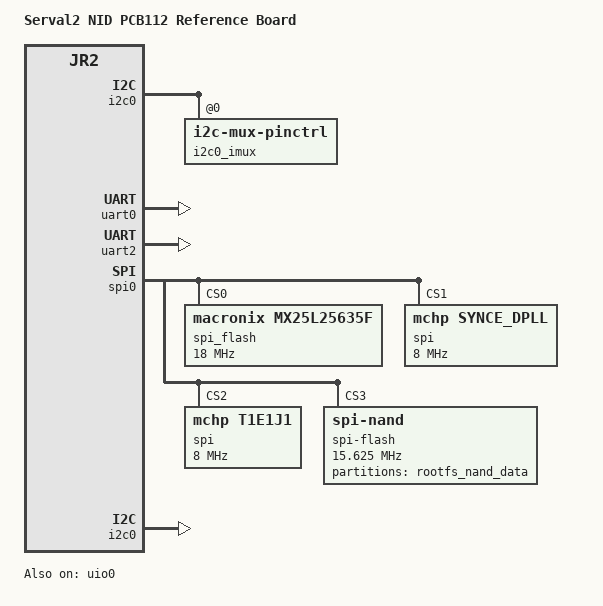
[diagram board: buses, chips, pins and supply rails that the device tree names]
// SPDX-License-Identifier: (GPL-2.0+ OR MIT)
/*
 * Copyright (c) 2018 Microsemi Corporation
 */

/dts-v1/;
#include "jaguar2_common.dtsi"

/ {
	model = "Serval2 NID PCB112 Reference Board";
	compatible = "mscc,serval2-pcb112", "mscc,jr2";

	aliases {
		spi0    = &spi0;
		i2c0    = &i2c0;
		serial0 = &uart0;
		i2c112  = &i2c112;
		i2c113  = &i2c113;
		i2c114  = &i2c114;
		i2c115  = &i2c115;
		i2c116  = &i2c116;
		i2c117  = &i2c117;
		i2c118  = &i2c118;
		i2c119  = &i2c119;
		i2c149  = &i2c149;
		i2c150  = &i2c150;
	};

	chosen {
		stdout-path = "serial0:115200n8";
	};
};

&ahb {
	dying_gasp: dying_gasp@0 {
		compatible = "mscc,dying-gasp";
		reg = <0 0>;
		interrupts = <1>;
		pinctrl-0 = <&irqext0_pins>;
		pinctrl-names = "ext0_irq";
	};
};

&uart0 {
	status = "okay";
};

&uart2 {
	status = "okay";
};

&spi0 {
	status = "okay";
	spi-flash@0 {
		label = "spi_flash";
		compatible = "macronix,mx25l25635f", "jedec,spi-nor";
		spi-max-frequency = <18000000>; /* input clock */
		reg = <0>; /* CS0 */
	};
	spi@1 {
		compatible = "mchp,synce_dpll";
		reg = <0x1>; /* CS1 */
		pinctrl-0 = <&cs1_pins>;
		pinctrl-names = "default";
		spi-max-frequency = <8000000>;
	};
	spi@2 {
		compatible = "mchp,t1e1j1";
		reg = <0x2>; /* CS2 */
		pinctrl-0 = <&cs2_pins>;
		pinctrl-names = "default";
		spi-max-frequency = <8000000>;
	};
	spi-flash@3 {
		compatible = "spi-nand";
		pinctrl-0 = <&cs3_pins>;
		pinctrl-names = "default";
		spi-max-frequency = <15625000>;
		reg = <3>; /* CS3 */
		nand-use-soft-ecc-engine;
		nand-ecc-algo = "hamming";
		partitions {
			compatible = "fixed-partitions";
			#address-cells = <1>;
			#size-cells = <1>;
			/* 256MiB */
			partition@0 {
				    label = "rootfs_nand_data";
				    reg = <0x0000000 0x10000000>;
			};
		};
	};
};

&i2c0 {
	status = "okay";
	i2c-sda-hold-time-ns = <300>;
};

&uio0 {
	status = "okay";
};


&gpio {
	i2cmux_pins_i: i2cmux-pins-i {
		pins = "GPIO_35", "GPIO_34", "GPIO_37", "GPIO_36", "GPIO_39",
		       "GPIO_38", "GPIO_41", "GPIO_40", "GPIO_43", "GPIO_42";
		function = "twi_scl_m";
		output-low;
	};
	i2cmux_0: i2cmux-0 {
		pins = "GPIO_35";
		function = "twi_scl_m";
		output-high;
	};
	i2cmux_1: i2cmux-1 {
		pins = "GPIO_34";
		function = "twi_scl_m";
		output-high;
	};
	i2cmux_2: i2cmux-2 {
		pins = "GPIO_37";
		function = "twi_scl_m";
		output-high;
	};
	i2cmux_3: i2cmux-3 {
		pins = "GPIO_36";
		function = "twi_scl_m";
		output-high;
	};
	i2cmux_4: i2cmux-4 {
		pins = "GPIO_39";
		function = "twi_scl_m";
		output-high;
	};
	i2cmux_5: i2cmux-5 {
		pins = "GPIO_38";
		function = "twi_scl_m";
		output-high;
	};
	i2cmux_6: i2cmux-6 {
		pins = "GPIO_41";
		function = "twi_scl_m";
		output-high;
	};
	i2cmux_7: i2cmux-7 {
		pins = "GPIO_40";
		function = "twi_scl_m";
		output-high;
	};
	i2cmux_8: i2cmux-8 {
		pins = "GPIO_43";
		function = "twi_scl_m";
		output-high;
	};
	i2cmux_9: i2cmux-9 {
		pins = "GPIO_42";
		function = "twi_scl_m";
		output-high;
	};
	irqext0_pins: irqext0-pins {
		pins = "GPIO_6";
		function = "irq0_in";
	};
};

&ahb {
	i2c0_imux: i2c0-imux@0 {
		compatible = "i2c-mux-pinctrl";
		#address-cells = <1>;
		#size-cells = <0>;
		i2c-parent = <&i2c0>;
		pinctrl-names =
			"i2c112", "i2c113", "i2c114", "i2c115", "i2c116",
			"i2c117", "i2c118", "i2c119", "i2c149", "i2c150",
			"idle";
		pinctrl-0 = <&i2cmux_0>;
		pinctrl-1 = <&i2cmux_1>;
		pinctrl-2 = <&i2cmux_2>;
		pinctrl-3 = <&i2cmux_3>;
		pinctrl-4 = <&i2cmux_4>;
		pinctrl-5 = <&i2cmux_5>;
		pinctrl-6 = <&i2cmux_6>;
		pinctrl-7 = <&i2cmux_7>;
		pinctrl-8 = <&i2cmux_8>;
		pinctrl-9 = <&i2cmux_9>;
		pinctrl-10 = <&i2cmux_pins_i>;
		i2c112: i2c_sfp112 {
			reg = <0x0>;
			#address-cells = <1>;
			#size-cells = <0>;
		};
		i2c113: i2c_sfp113 {
			reg = <0x1>;
			#address-cells = <1>;
			#size-cells = <0>;
		};
		i2c114: i2c_sfp114 {
			reg = <0x2>;
			#address-cells = <1>;
			#size-cells = <0>;
		};
		i2c115: i2c_sfp115 {
			reg = <0x3>;
			#address-cells = <1>;
			#size-cells = <0>;
		};
		i2c116: i2c_sfp116 {
			reg = <0x4>;
			#address-cells = <1>;
			#size-cells = <0>;
		};
		i2c117: i2c_sfp117 {
			reg = <0x5>;
			#address-cells = <1>;
			#size-cells = <0>;
		};
		i2c118: i2c_sfp118 {
			reg = <0x6>;
			#address-cells = <1>;
			#size-cells = <0>;
		};
		i2c119: i2c_sfp119 {
			reg = <0x7>;
			#address-cells = <1>;
			#size-cells = <0>;
		};
		i2c149: i2c_sfp149 {
			reg = <0x8>;
			#address-cells = <1>;
			#size-cells = <0>;
		};
		i2c150: i2c_sfp150 {
			reg = <0x9>;
			#address-cells = <1>;
			#size-cells = <0>;
		};
	};
};
